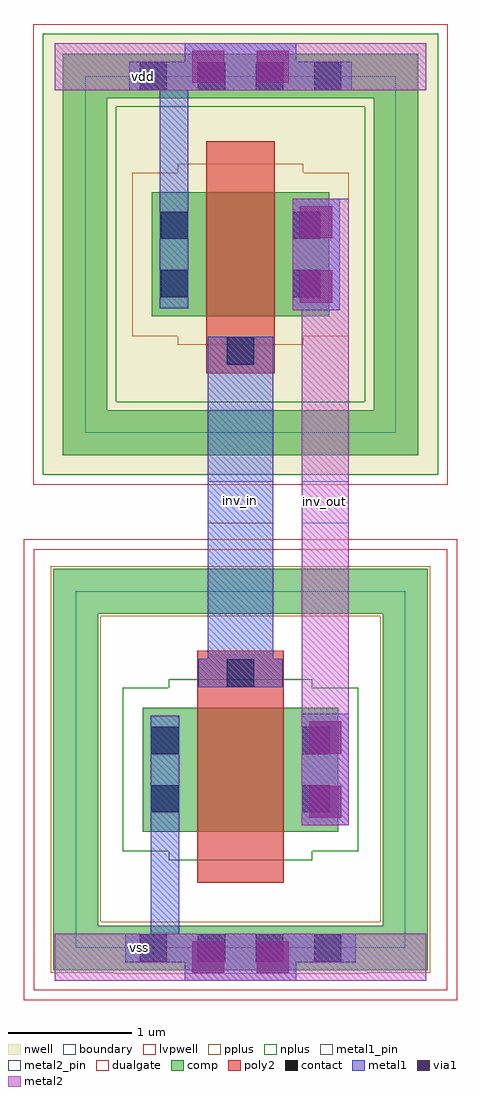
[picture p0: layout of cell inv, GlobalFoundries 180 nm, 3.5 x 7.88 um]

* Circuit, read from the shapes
.subckt inv inv_in inv_out vdd vss
XM1 inv_out inv_in vss vss nfet_06v0 w=1u l=0.7u
XM2 inv_out inv_in vdd vdd pfet_06v0 w=1u l=0.55u
.ends

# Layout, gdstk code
import gdstk
lib = gdstk.Library(unit=1e-6, precision=1e-09)
def R(c, l, rs):  # rectangles x0, y0, x1, y1
    for r in rs: c.add(gdstk.rectangle(r[:2], r[2:], *l))
def A(c, l, x, y, w, h, nx, ny, dx, dy):  # array of equal rectangles
    R(c, l, [(x+i*dx, y+j*dy, x+i*dx+w, y+j*dy+h) for i in range(nx) for j in range(ny)])
boundary = (0, 0)
nwell = (21, 0)
comp = (22, 0)
poly2 = (30, 0)
pplus = (31, 0)
nplus = (32, 0)
contact = (33, 0)
metal1 = (34, 0)
metal1_pin = (34, 10)
via1 = (35, 0)
metal2 = (36, 0)
metal2_pin = (36, 10)
dualgate = (55, 0)
lvpwell = (204, 0)

xm2_inv = lib.new_cell('XM2_inv')
R(xm2_inv, boundary, [(-1.255,-1.44,1.255,1.44)])
R(xm2_inv, nwell, [(-1.595,-1.78,1.595,1.78)])
R(xm2_inv, comp, [(-1.435,-1.62,1.435,-1.26), (-1.435,-1.26,-1.075,1.26), (1.075,-1.26,1.435,1.26), (-0.715,-0.5,0.715,0.5), (-1.435,1.26,1.435,1.62)])
R(xm2_inv, poly2, [(-0.275,-0.915,0.275,0.96)])
R(xm2_inv, pplus, [(-0.505,-0.73,0.505,-0.66), (-0.875,-0.66,0.875,0.66), (-0.505,0.66,0.505,0.73)])
R(xm2_inv, nplus, [(-1.595,-1.78,1.595,-1.19), (-1.595,-1.19,-1.005,1.19), (1.005,-1.19,1.595,1.19), (-1.595,1.19,1.595,1.78)])
A(xm2_inv, contact, -0.815, -1.55, 0.22, 0.22, 4, 1, 0.47, 0)
R(xm2_inv, contact, [(-0.645,-0.345,-0.425,-0.125), (0.425,-0.345,0.645,-0.125), (-0.645,0.125,-0.425,0.345), (0.425,0.125,0.645,0.345), (-0.11,0.67,0.11,0.89)])
R(xm2_inv, metal1, [(-0.9,-1.555,0.9,-1.325), (-0.65,-0.435,-0.42,0.435), (0.42,-0.435,0.65,0.435), (-0.265,0.665,0.265,0.895)])
R(xm2_inv, dualgate, [(-1.675,-1.86,1.675,1.86)])
xm2_inv.add(gdstk.Label('D', (0.6,0), layer=34, texttype=0))
xm2_inv.add(gdstk.Label('S', (-0.6,0), layer=34, texttype=0))
xm2_inv.add(gdstk.Label('G', (0,0), layer=30, texttype=10))

xm1_inv = lib.new_cell('XM1_inv')
R(xm1_inv, boundary, [(-1.33,-1.44,1.33,1.44)])
R(xm1_inv, comp, [(-1.51,-1.62,1.51,-1.26), (-1.51,-1.26,-1.15,1.26), (1.15,-1.26,1.51,1.26), (-0.79,-0.5,0.79,0.5), (-1.51,1.26,1.51,1.62)])
R(xm1_inv, poly2, [(-0.35,-0.915,0.35,0.96), (-0.35,-0.915,0.35,0.96)])
R(xm1_inv, pplus, [(-1.025,-1.65,1.025,-1.64), (-1.53,-1.64,1.53,-1.23), (-1.53,-1.23,-1.13,1.24), (1.13,-1.23,1.53,1.24), (-1.53,1.24,1.53,1.64)])
R(xm1_inv, nplus, [(-0.58,-0.73,0.58,-0.66), (-0.95,-0.66,0.95,0.66), (-0.58,0.66,0.58,0.73)])
A(xm1_inv, contact, -0.815, -1.55, 0.22, 0.22, 4, 1, 0.47, 0)
R(xm1_inv, contact, [(-0.72,-0.345,-0.5,-0.125), (0.5,-0.345,0.72,-0.125), (-0.72,0.125,-0.5,0.345), (0.5,0.125,0.72,0.345), (-0.11,0.67,0.11,0.89)])
R(xm1_inv, metal1, [(-0.93,-1.555,0.93,-1.325), (-0.725,-0.435,-0.495,0.435), (0.495,-0.435,0.725,0.435), (-0.34,0.665,0.34,0.895)])
R(xm1_inv, dualgate, [(-1.75,-1.86,1.75,1.86)])
R(xm1_inv, lvpwell, [(-1.67,-1.78,1.67,1.78)])
xm1_inv.add(gdstk.Label('D', (0.6,0), layer=34, texttype=0))
xm1_inv.add(gdstk.Label('S', (-0.6,0), layer=34, texttype=0))
xm1_inv.add(gdstk.Label('G', (0,0), layer=30, texttype=10))

inv = lib.new_cell('inv')
R(inv, metal1, [(3.55,-5.865,4.45,-5.485), (3.275,-5.715,3.505,-3.725), (4.495,-4.61,4.875,-3.71), (3.735,-3.495,4.265,-0.665), (4.42,-0.45,4.8,0.45), (3.35,-0.435,3.58,1.555), (3.55,1.325,4.45,1.705)])
R(inv, metal1_pin, [(3.07,-5.715,3.3,-5.485), (3.735,-2.17,4.265,-1.83), (3.1,1.325,3.33,1.555)])
R(inv, via1, [(3.61,-5.805,3.87,-5.545), (4.13,-5.805,4.39,-5.545), (4.555,-4.55,4.815,-4.29), (4.555,-4.03,4.815,-3.77), (4.48,-0.39,4.74,-0.13), (4.48,0.13,4.74,0.39), (3.61,1.385,3.87,1.645), (4.13,1.385,4.39,1.645)])
R(inv, metal2, [(2.5,-5.865,5.5,-5.485), (3.55,-5.865,4.45,-5.485), (4.495,-4.61,4.875,-3.71), (4.495,-4.61,4.875,0.45), (4.42,-0.45,4.8,0.45), (2.5,1.325,5.5,1.705), (3.55,1.325,4.45,1.705)])
R(inv, metal2_pin, [(4.495,-2.17,4.875,-1.83)])
inv.add(gdstk.Reference(xm2_inv, (4,0), x_reflection=True))
inv.add(gdstk.Reference(xm1_inv, (4,-4.16)))
inv.add(gdstk.Label('vdd', (3.214,1.44), layer=34, texttype=10))
inv.add(gdstk.Label('vss', (3.184,-5.6), layer=34, texttype=10))
inv.add(gdstk.Label('inv_in', (3.999,-1.987), layer=34, texttype=10))
inv.add(gdstk.Label('inv_out', (4.68,-1.998), layer=36, texttype=10))

lib.write_gds('inv.gds')
